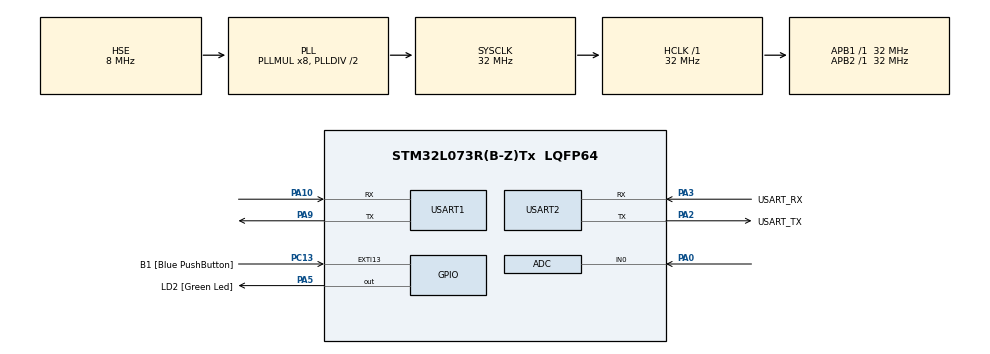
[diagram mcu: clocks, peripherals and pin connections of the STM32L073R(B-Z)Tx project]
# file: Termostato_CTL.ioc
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Mcu.Family=STM32L0
Mcu.Name=STM32L073R(B-Z)Tx
Mcu.Package=LQFP64
NVIC.USART1_IRQn=true\:0\:0\:false\:false\:true\:true\:true\:true
NVIC.USART2_IRQn=true\:0\:0\:false\:false\:true\:true\:true\:true
PA0.Mode=IN0
PA0.Signal=ADC_IN0
PA10.Mode=Asynchronous
PA10.Signal=USART1_RX
PA13.GPIO_Label=TMS
PA13.Mode=Serial_Wire
PA13.Signal=SYS_SWDIO
PA14.GPIO_Label=TCK
PA14.Mode=Serial_Wire
PA14.Signal=SYS_SWCLK
PA2.GPIO_Label=USART_TX
PA2.Mode=Asynchronous
PA2.Signal=USART2_TX
PA3.GPIO_Label=USART_RX
PA3.Mode=Asynchronous
PA3.Signal=USART2_RX
PA5.GPIO_Label=LD2 [Green Led]
PA5.Signal=GPIO_Output
PA9.Mode=Asynchronous
PA9.Signal=USART1_TX
PC13.GPIO_Label=B1 [Blue PushButton]
PC13.GPIO_ModeDefaultEXTI=GPIO_MODE_IT_FALLING
PC13.Signal=GPXTI13
PC14-OSC32_IN.Signal=RCC_OSC32_IN
PC15-OSC32_OUT.Signal=RCC_OSC32_OUT
PH0-OSC_IN.GPIO_Label=MCO
PH0-OSC_IN.Mode=HSE-External-Clock-Source
PH0-OSC_IN.Signal=RCC_OSC_IN
ProjectManager.HeapSize=0x200
ProjectManager.StackSize=0x400
ProjectManager.TargetToolchain=STM32CubeIDE
RCC.AHBFreq_Value=32000000
RCC.APB1Freq_Value=32000000
RCC.APB1TimFreq_Value=32000000
RCC.APB2Freq_Value=32000000
RCC.APB2TimFreq_Value=32000000
RCC.HCLKFreq_Value=32000000
RCC.HSE_VALUE=8000000
RCC.HSI16_VALUE=16000000
RCC.HSI48_VALUE=48000000
RCC.HSI_VALUE=16000000
RCC.LSE_VALUE=32768
RCC.MSI_VALUE=2097000
RCC.PLLMUL=RCC_PLLMUL_8
RCC.PLLSourceVirtual=RCC_PLLSOURCE_HSE
RCC.SYSCLKFreq_VALUE=32000000
RCC.SYSCLKSource=RCC_SYSCLKSOURCE_PLLCLK
RCC.VCOOutputFreq_Value=64000000
USART1.VirtualMode-Asynchronous=VM_ASYNC
USART2.VirtualMode-Asynchronous=VM_ASYNC
board=NUCLEO-L073RZ

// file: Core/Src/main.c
/* USER CODE BEGIN Header */
/**
  ******************************************************************************
  * @file           : main.c
  * @brief          : Main program body
  ******************************************************************************
  * @attention
  *
  * Copyright (c) 2026 STMicroelectronics.
  * All rights reserved.
  *
  * This software is licensed under terms that can be found in the LICENSE file
  * in the root directory of this software component.
  * If no LICENSE file comes with this software, it is provided AS-IS.
  *
  ******************************************************************************
  */
/* USER CODE END Header */
#include "main.h"

/* USER CODE BEGIN Includes */
#include "ESP8266_HAL.h" //CTL inclusione del Driver per la gestione del modulo Wi-Fi ESP8266
#include "String.h" //CTL inclusione per evitare la dichiarazione implicita della funzione strlen() che genera warning
/* USER CODE END Includes */

ADC_HandleTypeDef hadc;

UART_HandleTypeDef huart1;
UART_HandleTypeDef huart2;

/* USER CODE BEGIN PV */
float temperatura_att = 0.0;
int setpoint_temp = 20;
int impianto_attivo = 0;
/* USER CODE END PV */

void SystemClock_Config(void);
static void MX_GPIO_Init(void);
static void MX_USART1_UART_Init(void);
static void MX_USART2_UART_Init(void);
static void MX_ADC_Init(void);

int main(void)
{

  /* MCU Configuration--------------------------------------------------------*/

  /* Reset of all peripherals, Initializes the Flash interface and the Systick. */
  HAL_Init();

  /* Configure the system clock */
  SystemClock_Config();

  /* Initialize all configured peripherals */
  MX_GPIO_Init();
  MX_USART1_UART_Init();
  MX_USART2_UART_Init();
  MX_ADC_Init();
  /* USER CODE BEGIN 2 */
  ESP_Init("FABLAB-2-4","fablab22");  //CTL con questa funzione si cerca la rete con questo nome
  /* USER CODE END 2 */

  /* Infinite loop */
  /* USER CODE BEGIN WHILE */
  while (1)
  {
	  //CTL lettura del sensore - per una maggiore stavilità si fa la media di più letture per stabilità -
	        HAL_ADC_Start(&hadc);
	        if (HAL_ADC_PollForConversion(&hadc, 10) == HAL_OK)
	        {
	            uint32_t adc_val = HAL_ADC_GetValue(&hadc);
	            float millivolt = (adc_val * 3300.0) / 4095.0;
	            //CTL dato il sensore LM35 - 10mV per grado-
	            temperatura_att = millivolt / 10.0;
	        }
	        HAL_ADC_Stop(&hadc);

	        //CTL logica con isteresi (0.5 gradi)
	        float margine = 0.5;
	        if (impianto_attivo) {
	            if (temperatura_att < (setpoint_temp - margine)) {
	                HAL_GPIO_WritePin(GPIOA, GPIO_PIN_5, GPIO_PIN_SET); //CTL accensione
	            }
	            else if (temperatura_att > (setpoint_temp + margine)) {
	                HAL_GPIO_WritePin(GPIOA, GPIO_PIN_5, GPIO_PIN_RESET); //CTL spegnimento
	            }
	        } else {
	            HAL_GPIO_WritePin(GPIOA, GPIO_PIN_5, GPIO_PIN_RESET); //CTL forzatura dello spegnimento
	        }

	        Server_Start();  //CTL la funzione analizza il traffico dati dall'ESP8266, identifica i comandi URL e controlla lo stato del LED su GPIOA Pin 5.

	        // CTL rallentamento per evitare la saturazione del processore
	        HAL_Delay(10);
    /* USER CODE END WHILE */

  }
}

void SystemClock_Config(void)
{
  RCC_OscInitTypeDef RCC_OscInitStruct = {0};
  RCC_ClkInitTypeDef RCC_ClkInitStruct = {0};
  RCC_PeriphCLKInitTypeDef PeriphClkInit = {0};

  /** Configure the main internal regulator output voltage
  */
  __HAL_PWR_VOLTAGESCALING_CONFIG(PWR_REGULATOR_VOLTAGE_SCALE1);

  /** Initializes the RCC Oscillators according to the specified parameters
  * in the RCC_OscInitTypeDef structure.
  */
  RCC_OscInitStruct.OscillatorType = RCC_OSCILLATORTYPE_HSE;
  RCC_OscInitStruct.HSEState = RCC_HSE_BYPASS;
  RCC_OscInitStruct.PLL.PLLState = RCC_PLL_ON;
  RCC_OscInitStruct.PLL.PLLSource = RCC_PLLSOURCE_HSE;
  RCC_OscInitStruct.PLL.PLLMUL = RCC_PLLMUL_8;
  RCC_OscInitStruct.PLL.PLLDIV = RCC_PLLDIV_2;
  if (HAL_RCC_OscConfig(&RCC_OscInitStruct) != HAL_OK)
  {
    Error_Handler();
  }

  /** Initializes the CPU, AHB and APB buses clocks
  */
  RCC_ClkInitStruct.ClockType = RCC_CLOCKTYPE_HCLK|RCC_CLOCKTYPE_SYSCLK
                              |RCC_CLOCKTYPE_PCLK1|RCC_CLOCKTYPE_PCLK2;
  RCC_ClkInitStruct.SYSCLKSource = RCC_SYSCLKSOURCE_PLLCLK;
  RCC_ClkInitStruct.AHBCLKDivider = RCC_SYSCLK_DIV1;
  RCC_ClkInitStruct.APB1CLKDivider = RCC_HCLK_DIV1;
  RCC_ClkInitStruct.APB2CLKDivider = RCC_HCLK_DIV1;

  if (HAL_RCC_ClockConfig(&RCC_ClkInitStruct, FLASH_LATENCY_1) != HAL_OK)
  {
    Error_Handler();
  }
  PeriphClkInit.PeriphClockSelection = RCC_PERIPHCLK_USART1|RCC_PERIPHCLK_USART2;
  PeriphClkInit.Usart1ClockSelection = RCC_USART1CLKSOURCE_PCLK2;
  PeriphClkInit.Usart2ClockSelection = RCC_USART2CLKSOURCE_PCLK1;
  if (HAL_RCCEx_PeriphCLKConfig(&PeriphClkInit) != HAL_OK)
  {
    Error_Handler();
  }
}

static void MX_ADC_Init(void)
{

  ADC_ChannelConfTypeDef sConfig = {0};

  /** Configure the global features of the ADC (Clock, Resolution, Data Alignment and number of conversion)
  */
  hadc.Instance = ADC1;
  hadc.Init.OversamplingMode = DISABLE;
  hadc.Init.ClockPrescaler = ADC_CLOCK_SYNC_PCLK_DIV2;
  hadc.Init.Resolution = ADC_RESOLUTION_12B;
  hadc.Init.SamplingTime = ADC_SAMPLETIME_1CYCLE_5;
  hadc.Init.ScanConvMode = ADC_SCAN_DIRECTION_FORWARD;
  hadc.Init.DataAlign = ADC_DATAALIGN_RIGHT;
  hadc.Init.ContinuousConvMode = DISABLE;
  hadc.Init.DiscontinuousConvMode = DISABLE;
  hadc.Init.ExternalTrigConvEdge = ADC_EXTERNALTRIGCONVEDGE_NONE;
  hadc.Init.ExternalTrigConv = ADC_SOFTWARE_START;
  hadc.Init.DMAContinuousRequests = DISABLE;
  hadc.Init.EOCSelection = ADC_EOC_SINGLE_CONV;
  hadc.Init.Overrun = ADC_OVR_DATA_PRESERVED;
  hadc.Init.LowPowerAutoWait = DISABLE;
  hadc.Init.LowPowerFrequencyMode = DISABLE;
  hadc.Init.LowPowerAutoPowerOff = DISABLE;
  if (HAL_ADC_Init(&hadc) != HAL_OK)
  {
    Error_Handler();
  }

  /** Configure for the selected ADC regular channel to be converted.
  */
  sConfig.Channel = ADC_CHANNEL_0;
  sConfig.Rank = ADC_RANK_CHANNEL_NUMBER;
  if (HAL_ADC_ConfigChannel(&hadc, &sConfig) != HAL_OK)
  {
    Error_Handler();
  }

}

static void MX_USART1_UART_Init(void)
{

  huart1.Instance = USART1;
  huart1.Init.BaudRate = 115200;
  huart1.Init.WordLength = UART_WORDLENGTH_8B;
  huart1.Init.StopBits = UART_STOPBITS_1;
  huart1.Init.Parity = UART_PARITY_NONE;
  huart1.Init.Mode = UART_MODE_TX_RX;
  huart1.Init.HwFlowCtl = UART_HWCONTROL_NONE;
  huart1.Init.OverSampling = UART_OVERSAMPLING_16;
  huart1.Init.OneBitSampling = UART_ONE_BIT_SAMPLE_DISABLE;
  huart1.AdvancedInit.AdvFeatureInit = UART_ADVFEATURE_NO_INIT;
  if (HAL_UART_Init(&huart1) != HAL_OK)
  {
    Error_Handler();
  }

}

static void MX_USART2_UART_Init(void)
{

  huart2.Instance = USART2;
  huart2.Init.BaudRate = 115200;
  huart2.Init.WordLength = UART_WORDLENGTH_8B;
  huart2.Init.StopBits = UART_STOPBITS_1;
  huart2.Init.Parity = UART_PARITY_NONE;
  huart2.Init.Mode = UART_MODE_TX_RX;
  huart2.Init.HwFlowCtl = UART_HWCONTROL_NONE;
  huart2.Init.OverSampling = UART_OVERSAMPLING_16;
  huart2.Init.OneBitSampling = UART_ONE_BIT_SAMPLE_DISABLE;
  huart2.AdvancedInit.AdvFeatureInit = UART_ADVFEATURE_NO_INIT;
  if (HAL_UART_Init(&huart2) != HAL_OK)
  {
    Error_Handler();
  }

}

static void MX_GPIO_Init(void)
{
  GPIO_InitTypeDef GPIO_InitStruct = {0};

  /* GPIO Ports Clock Enable */
  __HAL_RCC_GPIOC_CLK_ENABLE();
  __HAL_RCC_GPIOH_CLK_ENABLE();
  __HAL_RCC_GPIOA_CLK_ENABLE();

  /*Configure GPIO pin Output Level */
  HAL_GPIO_WritePin(LD2_GPIO_Port, LD2_Pin, GPIO_PIN_RESET);

  /*Configure GPIO pin : B1_Pin */
  GPIO_InitStruct.Pin = B1_Pin;
  GPIO_InitStruct.Mode = GPIO_MODE_IT_FALLING;
  GPIO_InitStruct.Pull = GPIO_NOPULL;
  HAL_GPIO_Init(B1_GPIO_Port, &GPIO_InitStruct);

  /*Configure GPIO pin : LD2_Pin */
  GPIO_InitStruct.Pin = LD2_Pin;
  GPIO_InitStruct.Mode = GPIO_MODE_OUTPUT_PP;
  GPIO_InitStruct.Pull = GPIO_NOPULL;
  GPIO_InitStruct.Speed = GPIO_SPEED_FREQ_LOW;
  HAL_GPIO_Init(LD2_GPIO_Port, &GPIO_InitStruct);

}

void Error_Handler(void)
{
  __disable_irq();
  while (1)
  {
  }
}
